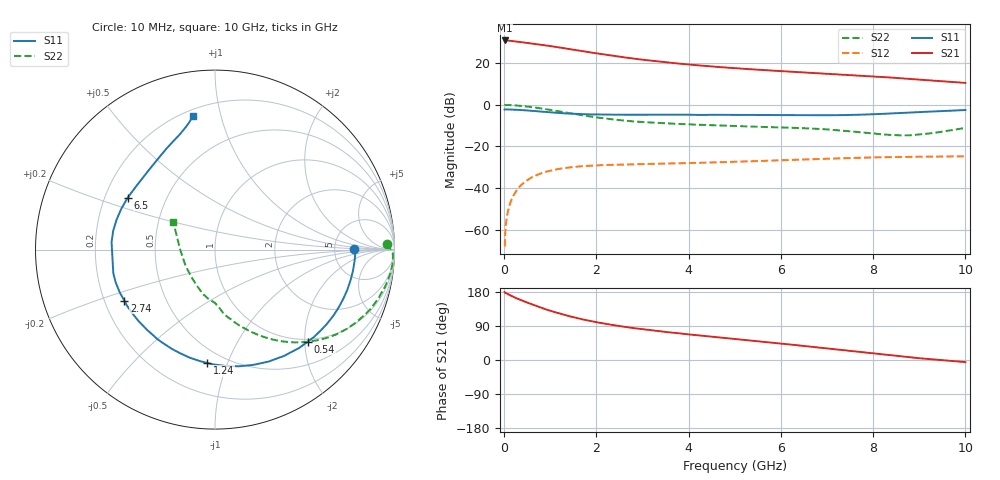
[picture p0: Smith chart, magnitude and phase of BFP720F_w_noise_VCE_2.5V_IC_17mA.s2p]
! Infineon Technologies  Discrete & RF Semiconductors
! BFP720F
! VCE =  2.5 V,  IC =  17 mA
! Common Emitter S-Parameters:  Jan 2016
# GHz  S  MA  R  50
!  f  S11  S21  S12  S22
! GHz  MAG  ANG  MAG  ANG  MAG  ANG  MAG  ANG
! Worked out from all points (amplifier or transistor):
!   233 points, 10 MHz to 10 GHz, reference 50 ohm
!   highest |S21| = 31.0 dB at 10 MHz (marker M1)
!   |S21| within 3 dB of that: start of sweep to 1.091 GHz
!   unconditionally stable (mu >= 1): start of sweep to 15.22 MHz; 5.87 GHz to end of sweep
!   at 200 MHz: K = 0.08, MSG = 37.2 dB, |S12| = -43.7 dB
!   at 1.74 GHz: K = 0.40, MSG = 27.6 dB, |S12| = -29.4 dB
!   at 10 GHz: K = 1.21, MAG = 14.9 dB, |S12| = -24.7 dB
!   lowest NFmin = 0.77 dB at 450 MHz
!   S11 on the Smith chart (normalised r, x): 10 MHz: 7.80, +0.05; 540 MHz: 0.95, -2.07; 1.24 GHz: 0.40, -0.85; 2.74 GHz: 0.28, -0.24; 6.5 GHz: 0.30, +0.25; 10 GHz: 0.24, +0.82
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0.01  0.7728 0.1  35.46 179.3  0.0004 -3.1  0.9598 2.0
0.02  0.7819 -1.6  35.27 176.9  0.0007 94.6  0.9903 -1.0
0.05  0.7807 -4.3  35.38 176.1  0.0017 89.6  0.9924 -2.1
0.1  0.7782 -8.5  35.07 172.7  0.0033 86.9  0.9922 -4.7
0.24  0.7661 -20.4  33.59 164.4  0.0078 79.7  0.9727 -11.5
0.4  0.7483 -33.6  31.98 156.2  0.0126 73.1  0.9377 -18.9
0.54  0.7281 -44.7  30.62 149.7  0.0165 67.3  0.901 -24.8
0.72  0.7022 -58.5  28.85 141.4  0.0208 60.9  0.8489 -31.9
0.88  0.6788 -70.3  27.27 134.6  0.0241 55.6  0.7979 -37.8
1.24  0.6333 -93.8  23.65 121.3  0.0295 45.8  0.6847 -49.0
1.48  0.6109 -107.4  21.44 113.5  0.0319 40.6  0.617 -55.3
1.68  0.5979 -117.4  19.77 107.8  0.0335 37.1  0.5671 -59.8
1.9  0.5881 -126.8  18.07 102.1  0.0347 33.9  0.5202 -64.3
2.2  0.5831 -137.2  16.1 95.4  0.0359 30.4  0.4695 -69.4
2.74  0.5796 -150.6  13.27 85.4  0.037 26.6  0.406 -76.2
3.4  0.582 -160.6  10.89 75.6  0.0385 24.3  0.3652 -81.6
4  0.5817 -166.9  9.343 67.5  0.0398 23.1  0.3395 -84.3
5.1  0.5756 168.3  7.502 54.3  0.0432 22.1  0.3071 -88.3
6.5  0.5661 149.2  6.049 37.0  0.0487 19.7  0.2756 -98.1
6.8  0.5631 144.2  5.783 33.2  0.0499 18.8  0.2645 -101.8
8.4  0.624 115.7  4.536 12.2  0.0556 12.9  0.1889 -145.5
10  0.7522 99.4  3.38 -5.6  0.0579 7.7  0.2797 146.5
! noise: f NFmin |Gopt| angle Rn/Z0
0.45  0.77  0.21  1  0.52
0.9  0.79  0.11  0  0.14
1.8  0.82  0.08  -6  0.16
2.4  0.83  0.08  -13  0.14
5.5  0.98  0.08  -18  0.1
10  1.15  0.35  -83  0.22
